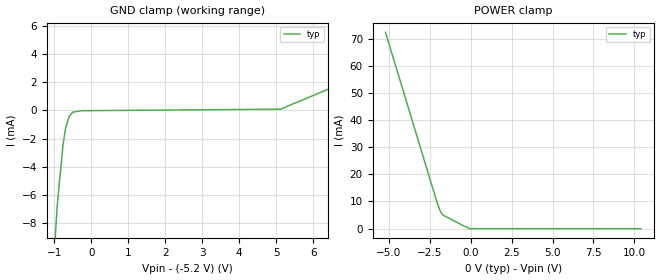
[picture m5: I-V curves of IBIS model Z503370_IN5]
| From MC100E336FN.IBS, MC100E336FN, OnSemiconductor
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| (C) COPYRIGHT 1993-2000
| MENTOR GRAPHICS CORPORATION
| ICX STANDARD LIBRARY, ICX PROJECT MODELING,
| ICX CUSTOM MODELING, ICX VENDOR MODEL
| ALL RIGHTS RESERVED.
| THE FOLLOWING ARE TRADEMARKS OR SERVICE MARKS OF
| MENTOR GRAPHICS CORPORATION:ICX (R), ICX STANDARD
| LIBRARY(R), ICX PROJECT MODELING(R), ICX CUSTOM
| MODELING(R), qualityIBIS(TM), MODELVIEWER(TM),
| AND MODELEDITOR(TM)
| ALL COPIES OF SOFTWARE, INCLUDING BUT NOT LIMITED TO
| ANY MODIFICATIONS, ENHANCEMENTS OR DERIVATIVE WORKS,
| MUST CONTAIN ALL MENTOR GRAPHICS CORPORATION'S
| NOTICES AND LEGENDS, INCLUDING THOSE EMBEDDED IN
| SOFTWARE AND THOSE AFFIXED TO SOFTWARE MEDIUM
| AND CONTAINER, AS RECEIVED FROM MENTOR GRAPHICS
| CORPORATION.
| Model Application Version 1.89 2/18/99.
[Model] Z503370_IN5
Model_type Input_ECL
Vinl = -1.475V
Vinh = -1.165V
C_comp 4.000pF NA NA
| variable typ   min   max
[Voltage Range] -5.200V NA NA
[GND Clamp Reference] -5.200V NA NA
[POWER Clamp Reference] 0.000V NA NA
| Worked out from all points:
|   GND clamp passes 1 mA (typ) near -0.66 V on its own axis
[GND Clamp]
-5.2V     -251.6mA   NA         NA
-1.074V   -13.13mA   NA         NA
-920mV    -6.719mA   NA         NA
-765mV    -2.444mA   NA         NA
-694mV    -1.268mA   NA         NA
-605mV    -471.3uA   NA         NA
-504mV    -127.5uA   NA         NA
-252mV    -20.96uA   NA         NA
5.113V    85.18uA    NA         NA
10.4V     5.879mA    NA         NA
[POWER Clamp]
-5.2V     72.25mA    NA         NA
-2.06V    9.812mA    NA         NA
-1.874V   6.714mA    NA         NA
-1.753V   5.373mA    NA         NA
-1.674V   4.96mA     NA         NA
-1.563V   4.579mA    NA         NA
-531.5mV  1.349mA    NA         NA
-127.1mV  198.3uA    NA         NA
-63.55mV  0A         NA         NA
10.4V     0A         NA         NA
